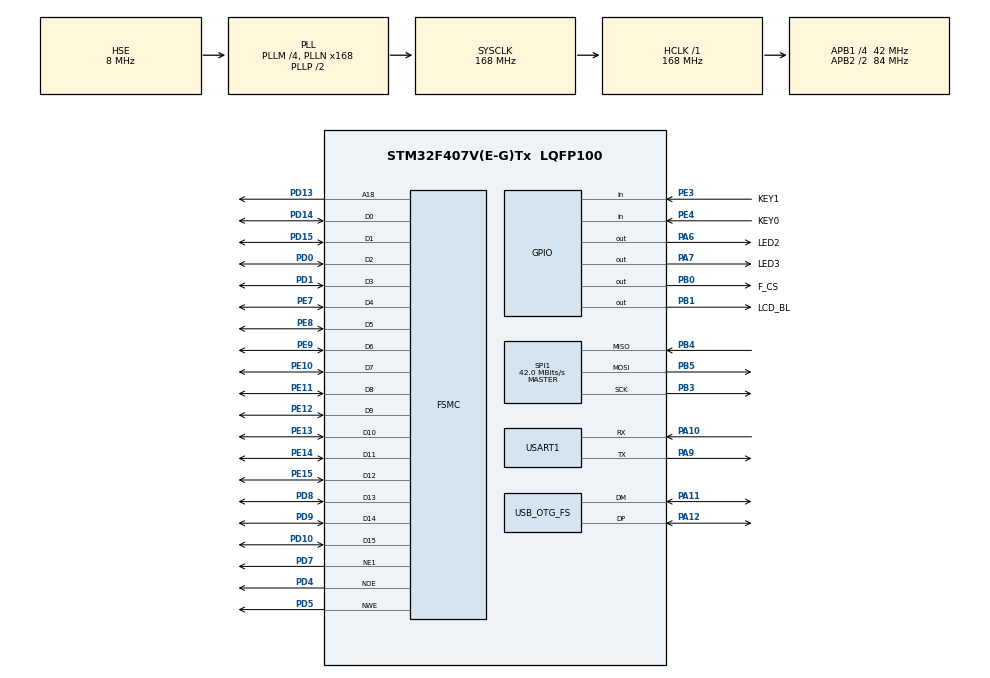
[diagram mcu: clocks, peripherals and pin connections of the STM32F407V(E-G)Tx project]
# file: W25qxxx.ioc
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FATFS._MAX_SS=4096
FATFS._USE_LFN=3
FSMC.AddressSetupTime1=1
FSMC.BusTurnAroundDuration1=0
FSMC.DataSetupTime1=5
Mcu.Family=STM32F4
Mcu.Name=STM32F407V(E-G)Tx
Mcu.Package=LQFP100
NVIC.OTG_FS_IRQn=true\:0\:0\:false\:false\:true\:false\:true\:true
NVIC.PriorityGroup=NVIC_PRIORITYGROUP_4
PA10.Mode=Asynchronous
PA10.Signal=USART1_RX
PA11.Mode=Device_Only
PA11.Signal=USB_OTG_FS_DM
PA12.Mode=Device_Only
PA12.Signal=USB_OTG_FS_DP
PA13.Mode=Serial_Wire
PA13.Signal=SYS_JTMS-SWDIO
PA14.Mode=Serial_Wire
PA14.Signal=SYS_JTCK-SWCLK
PA6.GPIO_Label=LED2
PA6.Signal=GPIO_Output
PA7.GPIO_Label=LED3
PA7.Signal=GPIO_Output
PA9.Mode=Asynchronous
PA9.Signal=USART1_TX
PB0.GPIO_Label=F_CS
PB0.GPIO_Speed=GPIO_SPEED_FREQ_MEDIUM
PB0.PinState=GPIO_PIN_SET
PB0.Signal=GPIO_Output
PB1.GPIO_Label=LCD_BL
PB1.Signal=GPIO_Output
PB3.Mode=Full_Duplex_Master
PB3.Signal=SPI1_SCK
PB4.Mode=Full_Duplex_Master
PB4.Signal=SPI1_MISO
PB5.Mode=Full_Duplex_Master
PB5.Signal=SPI1_MOSI
PD0.Mode=16b-d1
PD0.Signal=FSMC_D2
PD1.Mode=16b-d1
PD1.Signal=FSMC_D3
PD10.Mode=16b-d1
PD10.Signal=FSMC_D15
PD13.Mode=A18_1
PD13.Signal=FSMC_A18
PD14.Mode=16b-d1
PD14.Signal=FSMC_D0
PD15.Mode=16b-d1
PD15.Signal=FSMC_D1
PD4.Mode=Lcd1
PD4.Signal=FSMC_NOE
PD5.Mode=Lcd1
PD5.Signal=FSMC_NWE
PD7.Mode=NorPsramChipSelect1_1
PD7.Signal=FSMC_NE1
PD8.Mode=16b-d1
PD8.Signal=FSMC_D13
PD9.Mode=16b-d1
PD9.Signal=FSMC_D14
PE10.Mode=16b-d1
PE10.Signal=FSMC_D7
PE11.Mode=16b-d1
PE11.Signal=FSMC_D8
PE12.Mode=16b-d1
PE12.Signal=FSMC_D9
PE13.Mode=16b-d1
PE13.Signal=FSMC_D10
PE14.Mode=16b-d1
PE14.Signal=FSMC_D11
PE15.Mode=16b-d1
PE15.Signal=FSMC_D12
PE3.GPIO_Label=KEY1
PE3.GPIO_PuPd=GPIO_PULLUP
PE3.Signal=GPIO_Input
PE4.GPIO_Label=KEY0
PE4.GPIO_PuPd=GPIO_PULLUP
PE4.Signal=GPIO_Input
PE7.Mode=16b-d1
PE7.Signal=FSMC_D4
PE8.Mode=16b-d1
PE8.Signal=FSMC_D5
PE9.Mode=16b-d1
PE9.Signal=FSMC_D6
PH0-OSC_IN.Mode=HSE-External-Oscillator
PH0-OSC_IN.Signal=RCC_OSC_IN
PH1-OSC_OUT.Mode=HSE-External-Oscillator
PH1-OSC_OUT.Signal=RCC_OSC_OUT
ProjectManager.HeapSize=0x1200
ProjectManager.StackSize=0x1400
ProjectManager.TargetToolchain=MDK-ARM V5.27
RCC.48MHZClocksFreq_Value=48000000
RCC.AHBFreq_Value=168000000
RCC.APB1CLKDivider=RCC_HCLK_DIV4
RCC.APB1Freq_Value=42000000
RCC.APB1TimFreq_Value=84000000
RCC.APB2CLKDivider=RCC_HCLK_DIV2
RCC.APB2Freq_Value=84000000
RCC.APB2TimFreq_Value=168000000
RCC.CortexFreq_Value=168000000
RCC.HCLKFreq_Value=168000000
RCC.HSE_VALUE=8000000
RCC.HSICalibrationValue=8
RCC.HSI_VALUE=16000000
RCC.LSE_VALUE=32768
RCC.PLLM=4
RCC.PLLN=168
RCC.PLLQ=7
RCC.SYSCLKFreq_VALUE=168000000
RCC.SYSCLKSource=RCC_SYSCLKSOURCE_PLLCLK
RCC.VCOOutputFreq_Value=336000000
SPI1.CalculateBaudRate=42.0 MBits/s
SPI1.Direction=SPI_DIRECTION_2LINES
SPI1.Mode=SPI_MODE_MASTER
SPI1.VirtualType=VM_MASTER
USART1.VirtualMode=VM_ASYNC
USB_DEVICE.CLASS_NAME_FS=MSC
USB_DEVICE.VirtualMode-MSC_FS=Msc
USB_DEVICE.VirtualModeFS=Msc_FS
USB_OTG_FS.VirtualMode=Device_Only
VP_FATFS_VS_Generic.Mode=User_defined
VP_USB_DEVICE_VS_USB_DEVICE_MSC_FS.Mode=MSC_FS
board=custom

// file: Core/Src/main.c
/* USER CODE BEGIN Header */
/**
  ******************************************************************************
  * @file           : main.c
  * @brief          : Main program body
  ******************************************************************************
  * @attention
  *
  * Copyright (c) 2025 STMicroelectronics.
  * All rights reserved.
  *
  * This software is licensed under terms that can be found in the LICENSE file
  * in the root directory of this software component.
  * If no LICENSE file comes with this software, it is provided AS-IS.
  *
  ******************************************************************************
  */
/* USER CODE END Header */
#include "main.h"
#include "fatfs.h"
#include "usb_device.h"

/* USER CODE BEGIN Includes */
#include "../../w25qxx/w25qxxx.h"
#include "../../console/console.h"
#include "../../ILI9341/ili9341.h"
#include "../../json/lwjson_parser.h"
#include "../../graphics/graphics.h"
/* USER CODE END Includes */

/* USER CODE BEGIN PD */
#define LDC_HEIGHT        ILI9341_PIXEL_HEIGHT      // 320
#define LDC_WIDTH         ILI9341_PIXEL_WIDTH       // 240
#define LCD_PIXEL_COUNT   (LDC_HEIGHT * LDC_WIDTH)  // 320*240=76800
/* USER CODE END PD */

SPI_HandleTypeDef hspi1;

UART_HandleTypeDef huart1;

SRAM_HandleTypeDef hsram1;

/* USER CODE BEGIN PV */
FATFS fs;
hmi_settings_t HmiSettings;
/* USER CODE END PV */

void SystemClock_Config(void);
static void MX_GPIO_Init(void);
static void MX_SPI1_Init(void);
static void MX_USART1_UART_Init(void);
static void MX_FSMC_Init(void);
/* USER CODE BEGIN PFP */
// ----------------------------------------------------------------------------
int stdout_putchar(int ch);
// ----------------------------------------------------------------------------
int stdin_getchar(void);
// ----------------------------------------------------------------------------
w24qxxx_statusTypeDef SPI_TxRxCB(const uint8_t *pTxData,
                                       uint8_t *pRxData,
                                       uint16_t Size);

w24qxxx_statusTypeDef CS_EnableDisableCB(bool enable);

w24qxxx_statusTypeDef WP_EnableDisable(bool enable);
/* USER CODE END PFP */

/* USER CODE BEGIN 0 */
void CmdMount(const void *param);
// ----------------------------------------------------------------------------
void CmdReadDir(const void *param);
// ----------------------------------------------------------------------------
void CmdReadTextFile(const void *param);
// ----------------------------------------------------------------------------
void CmdReadBinFile(const void *param);
// ----------------------------------------------------------------------------
void CmdReadBmpFile(const void *param);
// ----------------------------------------------------------------------------
void CmdSettingsFile(const void *param);
// ----------------------------------------------------------------------------
void CmdWriteRegister(const void *param);
// ----------------------------------------------------------------------------
void HmiRun(hmi_settings_t * hmi_settings);
// ----------------------------------------------------------------------------
void HmiShowWindow(hmi_settings_t * hmi_settings, uint16_t mb_reg_num);
// ----------------------------------------------------------------------------

void SystemSetup(void);
/* USER CODE END 0 */

int main(void)
{

  /* MCU Configuration--------------------------------------------------------*/

  /* Reset of all peripherals, Initializes the Flash interface and the Systick. */
  HAL_Init();

  /* Configure the system clock */
  SystemClock_Config();

  /* Initialize all configured peripherals */
  MX_GPIO_Init();
  MX_SPI1_Init();
  MX_USART1_UART_Init();
//  MX_USB_DEVICE_Init();
  MX_FATFS_Init();
  MX_FSMC_Init();
  /* USER CODE BEGIN 2 */

  SystemSetup();

  HAL_Delay(500);
  lcdTest();
  CmdMount(NULL);
  CmdSettingsFile(NULL);

  if( HAL_GPIO_ReadPin(KEY1_GPIO_Port, KEY1_Pin) != GPIO_PIN_RESET )
  {
    HmiSettings.HmiMode = HMI_MODE_RUN;
  }
  else
  {
    HmiSettings.HmiMode = HMI_MODE_USB;
  }

  /* USER CODE END 2 */

  /* Infinite loop */
  /* USER CODE BEGIN WHILE */
  int frame_num = 0;
  int primitive_num = 0;
  int frame_count = SettingsGetFrameCount(&HmiSettings);
  uint32_t ticks = HAL_GetTick();

  while (1)
  {
    HAL_Delay(10);
    ConsoleRun();

    if(HmiSettings.HmiMode == HMI_MODE_USB)
      continue;

    if( (HAL_GetTick() - ticks) > 100 )
    {
      ticks = HAL_GetTick();
      HmiRun(&HmiSettings);
    }

    /* USER CODE END WHILE */

  }
}

void SystemClock_Config(void)
{
  RCC_OscInitTypeDef RCC_OscInitStruct = {0};
  RCC_ClkInitTypeDef RCC_ClkInitStruct = {0};

  /** Configure the main internal regulator output voltage
  */
  __HAL_RCC_PWR_CLK_ENABLE();
  __HAL_PWR_VOLTAGESCALING_CONFIG(PWR_REGULATOR_VOLTAGE_SCALE1);

  /** Initializes the RCC Oscillators according to the specified parameters
  * in the RCC_OscInitTypeDef structure.
  */
  RCC_OscInitStruct.OscillatorType = RCC_OSCILLATORTYPE_HSE;
  RCC_OscInitStruct.HSEState = RCC_HSE_ON;
  RCC_OscInitStruct.PLL.PLLState = RCC_PLL_ON;
  RCC_OscInitStruct.PLL.PLLSource = RCC_PLLSOURCE_HSE;
  RCC_OscInitStruct.PLL.PLLM = 4;
  RCC_OscInitStruct.PLL.PLLN = 168;
  RCC_OscInitStruct.PLL.PLLP = RCC_PLLP_DIV2;
  RCC_OscInitStruct.PLL.PLLQ = 7;
  if (HAL_RCC_OscConfig(&RCC_OscInitStruct) != HAL_OK)
  {
    Error_Handler();
  }

  /** Initializes the CPU, AHB and APB buses clocks
  */
  RCC_ClkInitStruct.ClockType = RCC_CLOCKTYPE_HCLK|RCC_CLOCKTYPE_SYSCLK
                              |RCC_CLOCKTYPE_PCLK1|RCC_CLOCKTYPE_PCLK2;
  RCC_ClkInitStruct.SYSCLKSource = RCC_SYSCLKSOURCE_PLLCLK;
  RCC_ClkInitStruct.AHBCLKDivider = RCC_SYSCLK_DIV1;
  RCC_ClkInitStruct.APB1CLKDivider = RCC_HCLK_DIV4;
  RCC_ClkInitStruct.APB2CLKDivider = RCC_HCLK_DIV2;

  if (HAL_RCC_ClockConfig(&RCC_ClkInitStruct, FLASH_LATENCY_5) != HAL_OK)
  {
    Error_Handler();
  }
}

static void MX_SPI1_Init(void)
{

  /* SPI1 parameter configuration*/
  hspi1.Instance = SPI1;
  hspi1.Init.Mode = SPI_MODE_MASTER;
  hspi1.Init.Direction = SPI_DIRECTION_2LINES;
  hspi1.Init.DataSize = SPI_DATASIZE_8BIT;
  hspi1.Init.CLKPolarity = SPI_POLARITY_LOW;
  hspi1.Init.CLKPhase = SPI_PHASE_1EDGE;
  hspi1.Init.NSS = SPI_NSS_SOFT;
  hspi1.Init.BaudRatePrescaler = SPI_BAUDRATEPRESCALER_2;
  hspi1.Init.FirstBit = SPI_FIRSTBIT_MSB;
  hspi1.Init.TIMode = SPI_TIMODE_DISABLE;
  hspi1.Init.CRCCalculation = SPI_CRCCALCULATION_DISABLE;
  hspi1.Init.CRCPolynomial = 10;
  if (HAL_SPI_Init(&hspi1) != HAL_OK)
  {
    Error_Handler();
  }

}

static void MX_USART1_UART_Init(void)
{

  huart1.Instance = USART1;
  huart1.Init.BaudRate = 115200;
  huart1.Init.WordLength = UART_WORDLENGTH_8B;
  huart1.Init.StopBits = UART_STOPBITS_1;
  huart1.Init.Parity = UART_PARITY_NONE;
  huart1.Init.Mode = UART_MODE_TX_RX;
  huart1.Init.HwFlowCtl = UART_HWCONTROL_NONE;
  huart1.Init.OverSampling = UART_OVERSAMPLING_16;
  if (HAL_UART_Init(&huart1) != HAL_OK)
  {
    Error_Handler();
  }

}

static void MX_GPIO_Init(void)
{
  GPIO_InitTypeDef GPIO_InitStruct = {0};

  /* GPIO Ports Clock Enable */
  __HAL_RCC_GPIOE_CLK_ENABLE();
  __HAL_RCC_GPIOH_CLK_ENABLE();
  __HAL_RCC_GPIOA_CLK_ENABLE();
  __HAL_RCC_GPIOB_CLK_ENABLE();
  __HAL_RCC_GPIOD_CLK_ENABLE();

  /*Configure GPIO pin Output Level */
  HAL_GPIO_WritePin(GPIOA, LED2_Pin|LED3_Pin, GPIO_PIN_RESET);

  /*Configure GPIO pin Output Level */
  HAL_GPIO_WritePin(F_CS_GPIO_Port, F_CS_Pin, GPIO_PIN_SET);

  /*Configure GPIO pin Output Level */
  HAL_GPIO_WritePin(LCD_BL_GPIO_Port, LCD_BL_Pin, GPIO_PIN_RESET);

  /*Configure GPIO pins : KEY1_Pin KEY0_Pin */
  GPIO_InitStruct.Pin = KEY1_Pin|KEY0_Pin;
  GPIO_InitStruct.Mode = GPIO_MODE_INPUT;
  GPIO_InitStruct.Pull = GPIO_PULLUP;
  HAL_GPIO_Init(GPIOE, &GPIO_InitStruct);

  /*Configure GPIO pins : LED2_Pin LED3_Pin */
  GPIO_InitStruct.Pin = LED2_Pin|LED3_Pin;
  GPIO_InitStruct.Mode = GPIO_MODE_OUTPUT_PP;
  GPIO_InitStruct.Pull = GPIO_NOPULL;
  GPIO_InitStruct.Speed = GPIO_SPEED_FREQ_LOW;
  HAL_GPIO_Init(GPIOA, &GPIO_InitStruct);

  /*Configure GPIO pin : F_CS_Pin */
  GPIO_InitStruct.Pin = F_CS_Pin;
  GPIO_InitStruct.Mode = GPIO_MODE_OUTPUT_PP;
  GPIO_InitStruct.Pull = GPIO_NOPULL;
  GPIO_InitStruct.Speed = GPIO_SPEED_FREQ_MEDIUM;
  HAL_GPIO_Init(F_CS_GPIO_Port, &GPIO_InitStruct);

  /*Configure GPIO pin : LCD_BL_Pin */
  GPIO_InitStruct.Pin = LCD_BL_Pin;
  GPIO_InitStruct.Mode = GPIO_MODE_OUTPUT_PP;
  GPIO_InitStruct.Pull = GPIO_NOPULL;
  GPIO_InitStruct.Speed = GPIO_SPEED_FREQ_LOW;
  HAL_GPIO_Init(LCD_BL_GPIO_Port, &GPIO_InitStruct);

}

/* FSMC initialization function */
static void MX_FSMC_Init(void)
{

  FSMC_NORSRAM_TimingTypeDef Timing = {0};

  /** Perform the SRAM1 memory initialization sequence
  */
  hsram1.Instance = FSMC_NORSRAM_DEVICE;
  hsram1.Extended = FSMC_NORSRAM_EXTENDED_DEVICE;
  /* hsram1.Init */
  hsram1.Init.NSBank = FSMC_NORSRAM_BANK1;
  hsram1.Init.DataAddressMux = FSMC_DATA_ADDRESS_MUX_DISABLE;
  hsram1.Init.MemoryType = FSMC_MEMORY_TYPE_SRAM;
  hsram1.Init.MemoryDataWidth = FSMC_NORSRAM_MEM_BUS_WIDTH_16;
  hsram1.Init.BurstAccessMode = FSMC_BURST_ACCESS_MODE_DISABLE;
  hsram1.Init.WaitSignalPolarity = FSMC_WAIT_SIGNAL_POLARITY_LOW;
  hsram1.Init.WrapMode = FSMC_WRAP_MODE_DISABLE;
  hsram1.Init.WaitSignalActive = FSMC_WAIT_TIMING_BEFORE_WS;
  hsram1.Init.WriteOperation = FSMC_WRITE_OPERATION_ENABLE;
  hsram1.Init.WaitSignal = FSMC_WAIT_SIGNAL_DISABLE;
  hsram1.Init.ExtendedMode = FSMC_EXTENDED_MODE_DISABLE;
  hsram1.Init.AsynchronousWait = FSMC_ASYNCHRONOUS_WAIT_DISABLE;
  hsram1.Init.WriteBurst = FSMC_WRITE_BURST_DISABLE;
  hsram1.Init.PageSize = FSMC_PAGE_SIZE_NONE;
  /* Timing */
  Timing.AddressSetupTime = 1;
  Timing.AddressHoldTime = 15;
  Timing.DataSetupTime = 5;
  Timing.BusTurnAroundDuration = 0;
  Timing.CLKDivision = 16;
  Timing.DataLatency = 17;
  Timing.AccessMode = FSMC_ACCESS_MODE_A;
  /* ExtTiming */

  if (HAL_SRAM_Init(&hsram1, &Timing, NULL) != HAL_OK)
  {
    Error_Handler( );
  }

}

/* USER CODE BEGIN 4 */
// ----------------------------------------------------------------------------
w24qxxx_statusTypeDef SPI_TxRxCB(const uint8_t *pTxData,
                                       uint8_t *pRxData,
                                       uint16_t Size)
{
  HAL_SPI_TransmitReceive(&hspi1, pTxData, pRxData, 1, 100);
  return w24qxxx_OK;
}
// ----------------------------------------------------------------------------
w24qxxx_statusTypeDef CS_EnableDisableCB(bool enable)
{
  HAL_GPIO_WritePin(F_CS_GPIO_Port, F_CS_Pin, (enable)?(GPIO_PIN_RESET):(GPIO_PIN_SET));
  return w24qxxx_OK;
}
// ----------------------------------------------------------------------------
w24qxxx_statusTypeDef WP_EnableDisable(bool enable)
{

  return w24qxxx_OK;
}
// ----------------------------------------------------------------------------
// ----------------------------------------------------------------------------
int stdout_putchar(int ch)
{
  uint8_t tmp = ch;
  if(HAL_UART_Transmit(&huart1, &tmp, 1, 100) == HAL_OK)
    return ch;
  else
    return -1;
}
// ----------------------------------------------------------------------------
int stdin_getchar(void)
{
  uint8_t ch;

  if(HAL_UART_Receive(&huart1, &ch, 1, 100) == HAL_OK)
  {
//    if(ch == 0x72)
//      return -1;
//    else
      return (int)ch;
  }
  else
    return '\n';
}
// ----------------------------------------------------------------------------
void CmdMount(const void *param)
{
  FRESULT fres;

  fres = f_mount(&fs, "0:", 1);

  if (fres == FR_OK)
    printf("Mount res: %d = FR_OK", fres);
  else
    printf("Mount error res: %d", fres);
}
// ----------------------------------------------------------------------------
void CmdReadDir(const void *param)
{
    FRESULT res;
    DIR dir;
    FILINFO fno;
    int nfile, ndir;
    const TCHAR* path = "0:";

    res = f_opendir(&dir, path);                       /* Open the directory */
    if (res == FR_OK)
    {
        nfile = ndir = 0;
        for (;;)
        {
            res = f_readdir(&dir, &fno);                   /* Read a directory item */
            if (res != FR_OK || fno.fname[0] == 0)
              break;  /* Error or end of dir */
            if (fno.fattrib & AM_DIR)
            {            /* Directory */
                printf("   <DIR>   %s\r\n", fno.fname);
                ndir++;
            }
            else
            {                               /* File */
                printf("name: %s;\tsize: %lu bytes\r\n", fno.fname, fno.fsize);
                nfile++;
            }
        }
        f_closedir(&dir);
        printf("%d dirs, %d files.\r\n", ndir, nfile);
    } else {
        printf("Failed to open \"%s\". (%u)\r\n", path, res);
    }
}
// ----------------------------------------------------------------------------
void CmdReadTextFile(const void *param)
{
  FRESULT res;
  const char * file_name;

  char * argv = (char *)param;
  FIL fil;        /* File object */
  char line[100]; /* Line buffer */

  file_name = ConsoleGetParam(param, 1);
  if(file_name == NULL)
  {
    printf("Enter file name please!!!\n");
    return;
  }

  printf("Read from text file: %s\n", file_name);

  res = f_open(&fil, file_name, FA_READ);

  while(f_gets(line, sizeof(line), &fil))
  {
    printf("%s", line);
  }

  f_close(&fil);
}
// ----------------------------------------------------------------------------
void CmdReadBinFile(const void *param)
{
  FRESULT res;
  const char * file_name;
  FIL fil;        /* File object */
  char data[100]; /* Line buffer */
  UINT read_bytes;

  file_name = ConsoleGetParam(param, 1);
  if(file_name == NULL)
  {
    printf("Enter file name please!!!\n");
    return;
  }

  printf("Read from text file: %s\n", file_name);

  res = f_open(&fil, file_name, FA_READ);

  while(f_read(&fil, data, sizeof(data), &read_bytes) == FR_OK)
  {
    if(read_bytes == 0)
      break;
    for(int i = 0; i < read_bytes; ++i)
      printf("%X,", data[i]);
  }

  printf("\r\n");

  f_close(&fil);
}
// ----------------------------------------------------------------------------
void CmdReadBmpFile(const void *param)
{
  const char * file_name = ConsoleGetParam(param, 1);
  GraphicsDrawBMP(file_name, 0, 0);
}
// ----------------------------------------------------------------------------
void CmdSettingsFile(const void *param)
{
  FRESULT res;
  FIL fil;        /* File object */
  FSIZE_t file_size = 0;
  UINT read_bytes;

  const char * file_name = "settings.json";

  printf("Read settings file: %s\n", file_name);

  res = f_open(&fil, file_name, FA_READ);
  if(res != FR_OK)
  {
    printf("Error open settings file: %s\n", file_name);
    return;
  }

  file_size = f_size(&fil);
  printf("File size: %lu\n", file_size );

  char *json_data = malloc(file_size);
  if(json_data == NULL)
  {
    printf("malloc error\n");
    return;
  }

  res = f_read(&fil, json_data, file_size, &read_bytes);
  if(res == FR_OK)
    printf("Read OK! Read bytes: %u\n", read_bytes);
  else
  {
    printf("Read ERROR!%u\n", res);
    free(json_data);
    f_close(&fil);
    return;
  }

  SettingsParse(&HmiSettings, json_data);

//  for(int i = 0; i < read_bytes; ++i)
//  {
//    printf("%c", json_data[i]);
//  }

  free(json_data);
  f_close(&fil);
}
// ----------------------------------------------------------------------------
void CmdWriteRegister(const void *param)
{
  int frame_num;

  int reg;
  int val;

  const char * reg_str = ConsoleGetParam(param, 1);
  const char * val_str = ConsoleGetParam(param, 2);

  reg = atoi(reg_str);
  if(reg == 0)
    return;
  val = atoi(val_str);
  if(val == 0)
    return;

  printf("CmdWriteRegister. reg_str: %s, val_str: %s\n", reg_str, val_str);
  printf("CmdWriteRegister. reg: %d, val: %d\n", reg, val);

//  HmiShowWindow(&HmiSettings, reg);
  HmiSettings.CurrWindId = reg;
}
// ----------------------------------------------------------------------------
void HmiRun(hmi_settings_t * hmi_settings)
{
  if(hmi_settings->StartWindId != hmi_settings->CurrWindId)
  {
    hmi_settings->StartWindId = hmi_settings->CurrWindId;
    HmiShowWindow(hmi_settings, hmi_settings->CurrWindId);
  }
}
// ----------------------------------------------------------------------------
void HmiShowWindow(hmi_settings_t * hmi_settings, uint16_t mb_reg_num)
{
  primitive_t * frame = SettingsGetFrameByMbReg(hmi_settings, mb_reg_num);
  primitive_t * primitive;

  if(frame == NULL)
    return;

  const char * file = GetPrinitiveFileName(frame);

  if(file == NULL)
    return;

  GraphicsDrawBMP(file, frame->CoordinatesXY.x, frame->CoordinatesXY.y);

  // отрисовываем римитивы окна
  primitive = frame->OwnPrimitivesList;

  while(primitive != NULL)
  {
    GraphicsDrawBMP(primitive->ImageFileName,
                    primitive->CoordinatesXY.x, primitive->CoordinatesXY.y);

    primitive = GetNextPrimitive(primitive);
  }

}
// ----------------------------------------------------------------------------
void StorageSetup(void)
{
  w24qxxx_init_t init;

  init.SPI_TransmitReceive = SPI_TxRxCB;
  init.CS_EnableDisable    = CS_EnableDisableCB;
  init.WP_EnableDisable    = WP_EnableDisable;
  W25Qxxx_Init(&init);

  W25Qxxx_DeviceInit();

  MX_USB_DEVICE_Init();
}
// ----------------------------------------------------------------------------
void ConsoleSetup(void)
{
  ConsoleCommandAdd("mnt",  CmdMount,        "Mount fs.");
  ConsoleCommandAdd("ls",   CmdReadDir,      "Read directory.");
  ConsoleCommandAdd("rft",  CmdReadTextFile, "Read text file.");
  ConsoleCommandAdd("rfb",  CmdReadBinFile,  "Read binary file.");
  ConsoleCommandAdd("rbm",  CmdReadBmpFile,  "Read bmp file.");
  ConsoleCommandAdd("stp",  CmdSettingsFile, "Read settings file.");
  ConsoleCommandAdd("mbw",  CmdWriteRegister,"Write modbus reg, value.");
}
// ----------------------------------------------------------------------------
void LcdSetup(void)
{
  lcdBacklightOff();
  lcdInit();
  lcdBacklightOn();
  lcdSetOrientation(LCD_ORIENTATION_PORTRAIT); // (LCD_ORIENTATION_LANDSCAPE);
}
// ----------------------------------------------------------------------------
void GraphicsSetup(void)
{
  graphics_init_t ginit;

  ginit.lcdFrameArray     = NULL; // LcdFrameArray;
  ginit.lcdFrameArraySize = 0; // LCD_PIXEL_COUNT;

  ginit.drawPixelCB   = lcdDrawPixel;
  ginit.drawPixelsCB  = lcdDrawPixels;
  ginit.setCursorCB   = lcdSetCursor;

  GraphicsInit(&ginit);
}
// ----------------------------------------------------------------------------
void SystemSetup(void)
{
  StorageSetup();
  ConsoleSetup();
  LcdSetup();
  GraphicsSetup();
}
// ----------------------------------------------------------------------------
/* USER CODE END 4 */

void Error_Handler(void)
{
  __disable_irq();
  while (1)
  {
  }
}
